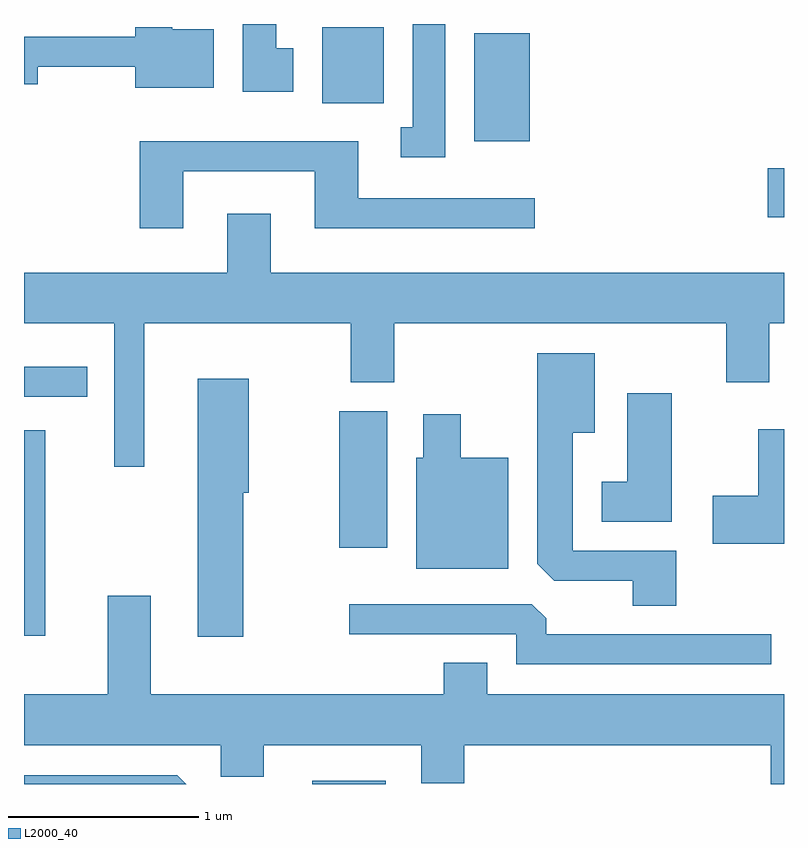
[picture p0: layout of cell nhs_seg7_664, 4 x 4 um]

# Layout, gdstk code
import gdstk
lib = gdstk.Library(unit=1e-6, precision=1e-09)
def R(c, l, rs):  # rectangles x0, y0, x1, y1
    for r in rs: c.add(gdstk.rectangle(r[:2], r[2:], *l))
def P(c, l, *ps):  # polygons
    for p in ps: c.add(gdstk.Polygon(p, *l))
L2000_40 = (2000, 40)

nhs_seg7_664 = lib.new_cell('nhs_seg7_664')
R(nhs_seg7_664, L2000_40, [(205.128,1796.252,205.514,1796.269), (203.611,1797.033,203.724,1798.113), (205.271,1797.496,205.524,1798.214), (203.611,1798.291,203.943,1798.449), (207.526,1799.236,207.611,1799.494), (205.981,1799.636,206.274,1800.204), (205.181,1799.836,205.504,1800.234)])
P(nhs_seg7_664, L2000_40, [(205.029,1800.124),(204.939,1800.124),(204.939,1800.252),(204.761,1800.252),(204.761,1799.896),(205.029,1799.896)],
  [(205.829,1800.252),(205.656,1800.252),(205.656,1799.709),(205.593,1799.709),(205.593,1799.551),(205.829,1799.551)],
  [(204.609,1800.224),(204.39,1800.224),(204.39,1800.234),(204.196,1800.234),(204.196,1800.184),(203.611,1800.184),(203.611,1799.936),(203.684,1799.936),(203.684,1800.026),(204.196,1800.026),(204.196,1799.916),(204.609,1799.916)],
  [(204.449,1799.476),(205.141,1799.476),(205.141,1799.176),(206.298,1799.176),(206.298,1799.334),(205.369,1799.334),(205.369,1799.634),(204.221,1799.634),(204.221,1799.176),(204.449,1799.176)],
  [(204.909,1799.254),(204.681,1799.254),(204.681,1798.944),(203.611,1798.944),(203.611,1798.676),(204.086,1798.676),(204.086,1797.923),(204.244,1797.923),(204.244,1798.676),(205.331,1798.676),(205.331,1798.366),(205.559,1798.366),(205.559,1798.676),(207.306,1798.676),(207.306,1798.366),(207.534,1798.366),(207.534,1798.676),(207.611,1798.676),(207.611,1798.944),(204.909,1798.944)],
  [(207.044,1797.479),(206.499,1797.479),(206.499,1798.101),(206.614,1798.101),(206.614,1798.519),(206.311,1798.519),(206.311,1797.412),(206.402,1797.321),(206.816,1797.321),(206.816,1797.191),(207.044,1797.191)],
  [(204.764,1797.786),(204.794,1797.786),(204.794,1798.384),(204.526,1798.384),(204.526,1797.026),(204.764,1797.026)],
  [(207.019,1798.309),(206.786,1798.309),(206.786,1797.844),(206.651,1797.844),(206.651,1797.631),(207.019,1797.631)],
  [(206.159,1797.969),(205.909,1797.969),(205.909,1798.199),(205.711,1798.199),(205.711,1797.969),(205.676,1797.969),(205.676,1797.386),(206.159,1797.386)],
  [(207.611,1798.119),(207.476,1798.119),(207.476,1797.769),(207.236,1797.769),(207.236,1797.516),(207.611,1797.516)],
  [(207.611,1796.724),(206.049,1796.724),(206.049,1796.889),(205.821,1796.889),(205.821,1796.724),(204.279,1796.724),(204.279,1797.244),(204.051,1797.244),(204.051,1796.724),(203.611,1796.724),(203.611,1796.456),(204.646,1796.456),(204.646,1796.291),(204.874,1796.291),(204.874,1796.456),(205.701,1796.456),(205.701,1796.256),(205.929,1796.256),(205.929,1796.456),(207.541,1796.456),(207.541,1796.252),(207.611,1796.252)],
  [(207.543,1797.039),(206.359,1797.039),(206.359,1797.124),(206.284,1797.199),(205.323,1797.199),(205.323,1797.041),(206.201,1797.041),(206.201,1796.881),(207.543,1796.881)],
  [(204.417,1796.299),(203.611,1796.299),(203.611,1796.252),(204.464,1796.252)])

lib.write_gds('nhs_seg7_664.gds')
